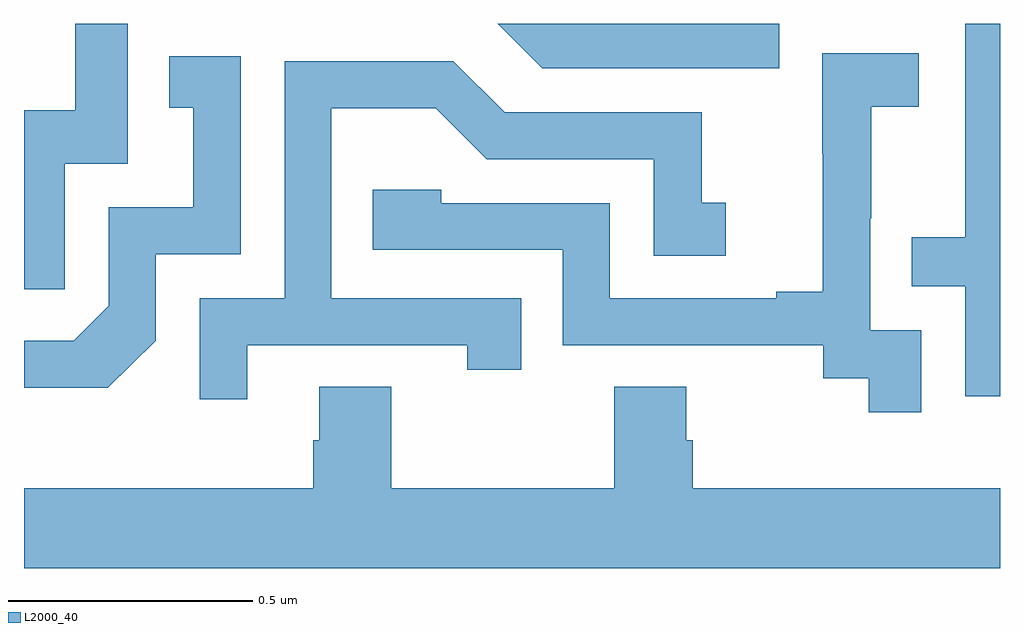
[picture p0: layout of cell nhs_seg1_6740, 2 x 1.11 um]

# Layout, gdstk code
import gdstk
lib = gdstk.Library(unit=1e-6, precision=1e-09)
def P(c, l, *ps):  # polygons
    for p in ps: c.add(gdstk.Polygon(p, *l))
L2000_40 = (2000, 40)

nhs_seg1_6740 = lib.new_cell('nhs_seg1_6740')
P(nhs_seg1_6740, L2000_40, [(195.084,533.913),(195.213,533.913),(195.213,534.199),(195.105,534.199),(195.105,534.022),(195,534.022),(195,533.655),(195.084,533.655)],
  [(196.548,534.199),(195.971,534.199),(196.062,534.108),(196.548,534.108)],
  [(197,534.199),(196.929,534.199),(196.929,533.762),(196.819,533.762),(196.819,533.661),(196.929,533.661),(196.929,533.436),(197,533.436)],
  [(196.839,533.571),(196.734,533.571),(196.734,533.801),(196.736,533.801),(196.736,534.029),(196.834,534.029),(196.834,534.139),(196.636,534.139),(196.636,533.933),(196.637,533.933),(196.637,533.65),(196.541,533.65),(196.541,533.637),(196.2,533.637),(196.2,533.832),(195.855,533.832),(195.855,533.859),(195.715,533.859),(195.715,533.736),(196.104,533.736),(196.104,533.541),(196.638,533.541),(196.638,533.473),(196.731,533.473),(196.731,533.403),(196.839,533.403)],
  [(195.27,533.55),(195.27,533.727),(195.444,533.727),(195.444,534.133),(195.298,534.133),(195.298,534.027),(195.347,534.027),(195.347,533.823),(195.174,533.823),(195.174,533.622),(195.102,533.55),(195,533.55),(195,533.453),(195.172,533.453)],
  [(195.457,533.541),(195.908,533.541),(195.908,533.49),(196.019,533.49),(196.019,533.637),(195.63,533.637),(195.63,534.026),(195.844,534.026),(195.948,533.922),(196.29,533.922),(196.29,533.724),(196.438,533.724),(196.438,533.833),(196.389,533.833),(196.389,534.018),(195.985,534.018),(195.88,534.123),(195.534,534.123),(195.534,533.637),(195.36,533.637),(195.36,533.43),(195.457,533.43)],
  [(197,533.248),(196.37,533.248),(196.37,533.346),(196.357,533.346),(196.357,533.456),(196.21,533.456),(196.21,533.248),(195.753,533.248),(195.753,533.456),(195.605,533.456),(195.605,533.346),(195.593,533.346),(195.593,533.248),(195,533.248),(195,533.084),(197,533.084)])

lib.write_gds('nhs_seg1_6740.gds')
